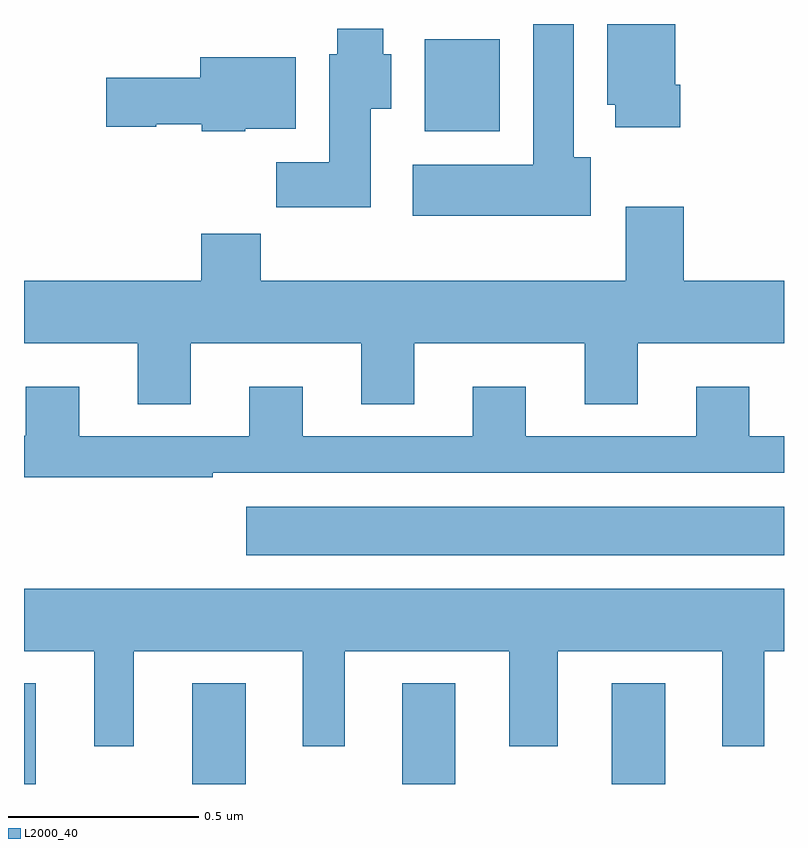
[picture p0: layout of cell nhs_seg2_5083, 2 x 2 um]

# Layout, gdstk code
import gdstk
lib = gdstk.Library(unit=1e-6, precision=1e-09)
def R(c, l, rs):  # rectangles x0, y0, x1, y1
    for r in rs: c.add(gdstk.rectangle(r[:2], r[2:], *l))
def A(c, l, x, y, w, h, nx, ny, dx, dy):  # array of equal rectangles
    R(c, l, [(x+i*dx, y+j*dy, x+i*dx+w, y+j*dy+h) for i in range(nx) for j in range(ny)])
def P(c, l, *ps):  # polygons
    for p in ps: c.add(gdstk.Polygon(p, *l))
L2000_40 = (2000, 40)

nhs_seg2_5083 = lib.new_cell('nhs_seg2_5083')
A(nhs_seg2_5083, L2000_40, 174.443, 655.8, 0.14, 0.265, 3, 1, 0.552, 0)
R(nhs_seg2_5083, L2000_40, [(174,655.8,174.031,656.065), (174.585,656.402,176,656.53), (175.055,657.518,175.252,657.76)])
P(nhs_seg2_5083, L2000_40, [(175.727,657.64),(175.714,657.64),(175.714,657.8),(175.535,657.8),(175.535,657.588),(175.556,657.588),(175.556,657.528),(175.727,657.528)],
  [(175.492,657.45),(175.447,657.45),(175.447,657.8),(175.34,657.8),(175.34,657.43),(175.023,657.43),(175.023,657.296),(175.492,657.296)],
  [(174.913,657.577),(174.967,657.577),(174.967,657.72),(174.946,657.72),(174.946,657.787),(174.824,657.787),(174.824,657.72),(174.803,657.72),(174.803,657.436),(174.664,657.436),(174.664,657.318),(174.913,657.318)],
  [(174.582,657.524),(174.715,657.524),(174.715,657.712),(174.464,657.712),(174.464,657.658),(174.216,657.658),(174.216,657.529),(174.348,657.529),(174.348,657.536),(174.468,657.536),(174.468,657.518),(174.582,657.518)],
  [(174.439,656.96),(174.887,656.96),(174.887,656.8),(175.027,656.8),(175.027,656.96),(175.475,656.96),(175.475,656.8),(175.615,656.8),(175.615,656.96),(176,656.96),(176,657.124),(175.736,657.124),(175.736,657.319),(175.583,657.319),(175.583,657.124),(174.623,657.124),(174.623,657.248),(174.467,657.248),(174.467,657.124),(174,657.124),(174,656.96),(174.299,656.96),(174.299,656.8),(174.439,656.8)],
  [(174.497,656.619),(176,656.619),(176,656.715),(175.909,656.715),(175.909,656.845),(175.769,656.845),(175.769,656.715),(175.321,656.715),(175.321,656.845),(175.181,656.845),(175.181,656.715),(174.733,656.715),(174.733,656.845),(174.593,656.845),(174.593,656.715),(174.145,656.715),(174.145,656.845),(174.005,656.845),(174.005,656.716),(174,656.716),(174,656.607),(174.497,656.607)],
  [(174.289,656.15),(174.734,656.15),(174.734,655.899),(174.844,655.899),(174.844,656.15),(175.277,656.15),(175.277,655.899),(175.405,655.899),(175.405,656.15),(175.838,656.15),(175.838,655.899),(175.948,655.899),(175.948,656.15),(176,656.15),(176,656.314),(174,656.314),(174,656.15),(174.185,656.15),(174.185,655.899),(174.289,655.899)])

lib.write_gds('nhs_seg2_5083.gds')
